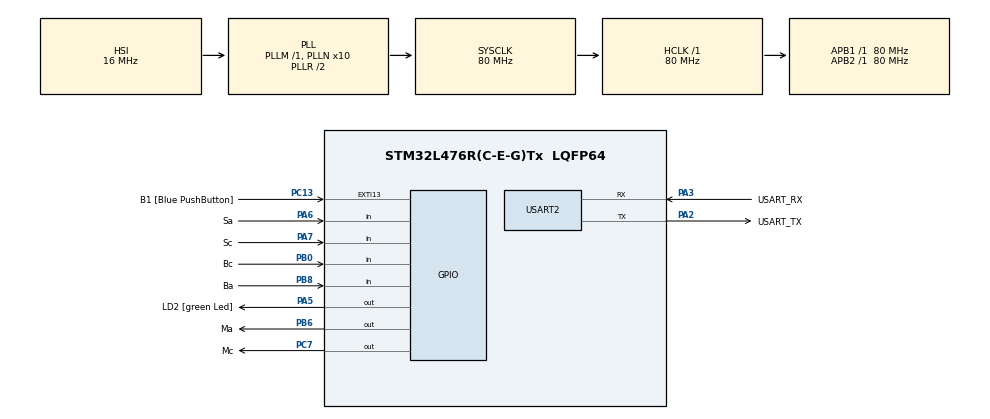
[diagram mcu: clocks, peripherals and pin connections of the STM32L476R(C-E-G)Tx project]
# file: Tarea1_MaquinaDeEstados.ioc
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Mcu.Family=STM32L4
Mcu.Name=STM32L476R(C-E-G)Tx
Mcu.Package=LQFP64
NVIC.PriorityGroup=NVIC_PRIORITYGROUP_4
PA13\ (JTMS-SWDIO).GPIO_Label=TMS
PA13\ (JTMS-SWDIO).Mode=Serial_Wire
PA13\ (JTMS-SWDIO).Signal=SYS_JTMS-SWDIO
PA14\ (JTCK-SWCLK).GPIO_Label=TCK
PA14\ (JTCK-SWCLK).Mode=Serial_Wire
PA14\ (JTCK-SWCLK).Signal=SYS_JTCK-SWCLK
PA2.GPIO_Label=USART_TX
PA2.GPIO_Mode=GPIO_MODE_AF_PP
PA2.GPIO_PuPd=GPIO_NOPULL
PA2.GPIO_Speed=GPIO_SPEED_FREQ_VERY_HIGH
PA2.Mode=Asynchronous
PA2.Signal=USART2_TX
PA3.GPIO_Label=USART_RX
PA3.GPIO_Mode=GPIO_MODE_AF_PP
PA3.GPIO_PuPd=GPIO_NOPULL
PA3.GPIO_Speed=GPIO_SPEED_FREQ_VERY_HIGH
PA3.Mode=Asynchronous
PA3.Signal=USART2_RX
PA5.GPIO_Label=LD2 [green Led]
PA5.GPIO_ModeDefaultOutputPP=GPIO_MODE_OUTPUT_PP
PA5.GPIO_PuPd=GPIO_NOPULL
PA5.GPIO_Speed=GPIO_SPEED_FREQ_LOW
PA5.Signal=GPIO_Output
PA6.GPIO_Label=Sa
PA6.Signal=GPIO_Input
PA7.GPIO_Label=Sc
PA7.Signal=GPIO_Input
PB0.GPIO_Label=Bc
PB0.Signal=GPIO_Input
PB3\ (JTDO-TRACESWO).GPIO_Label=SWO
PB3\ (JTDO-TRACESWO).Signal=SYS_JTDO-SWO
PB6.GPIO_Label=Ma
PB6.Signal=GPIO_Output
PB8.GPIO_Label=Ba
PB8.Signal=GPIO_Input
PC13.GPIO_Label=B1 [Blue PushButton]
PC13.GPIO_ModeDefaultEXTI=GPIO_MODE_IT_FALLING
PC13.GPIO_PuPd=GPIO_NOPULL
PC13.Signal=GPXTI13
PC14-OSC32_IN\ (PC14).Mode=LSE-External-Oscillator
PC14-OSC32_IN\ (PC14).Signal=RCC_OSC32_IN
PC15-OSC32_OUT\ (PC15).Mode=LSE-External-Oscillator
PC15-OSC32_OUT\ (PC15).Signal=RCC_OSC32_OUT
PC7.GPIO_Label=Mc
PC7.Signal=GPIO_Output
PH0-OSC_IN\ (PH0).Signal=RCC_OSC_IN
PH1-OSC_OUT\ (PH1).Signal=RCC_OSC_OUT
ProjectManager.HeapSize=0x200
ProjectManager.StackSize=0x400
ProjectManager.TargetToolchain=STM32CubeIDE
RCC.ADCFreq_Value=64000000
RCC.AHBFreq_Value=80000000
RCC.APB1Freq_Value=80000000
RCC.APB1TimFreq_Value=80000000
RCC.APB2Freq_Value=80000000
RCC.APB2TimFreq_Value=80000000
RCC.CortexFreq_Value=80000000
RCC.HCLKFreq_Value=80000000
RCC.HSE_VALUE=8000000
RCC.HSI_VALUE=16000000
RCC.MSI_VALUE=4000000
RCC.PLLN=10
RCC.PLLSourceVirtual=RCC_PLLSOURCE_HSI
RCC.PREFETCH_ENABLE=1
RCC.SYSCLKFreq_VALUE=80000000
RCC.SYSCLKSource=RCC_SYSCLKSOURCE_PLLCLK
RCC.USBFreq_Value=64000000
RCC.VCOOutputFreq_Value=160000000
USART2.VirtualMode-Asynchronous=VM_ASYNC
VP_TIM2_VS_ClockSourceINT.Mode=Internal
board=NUCLEO-L476RG

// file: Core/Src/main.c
/* USER CODE BEGIN Header */
/* USER CODE END Header */
#include "main.h"

/* USER CODE BEGIN PD */
#define ESTADO_ERROR        0
#define ESTADO_ABIERTO      1
#define ESTADO_CERRADO      2
#define ESTADO_ABRIENDO     3
#define ESTADO_CERRANDO     4
#define ESTADO_INTERMEDIO   5
#define ESTADO_INIT         6
#define FALSE 0
#define TRUE  1
#define inTrue  0
#define inFalse 1
#define TIME_Ca 60
#define GPIO_A GPIOA
#define GPIO_B GPIOB
#define GPIO_C GPIOC
#define PIN_Sa GPIO_PIN_6
#define PIN_Sc GPIO_PIN_7
#define PIN_Ma GPIO_PIN_6
#define PIN_Mc GPIO_PIN_7
#define PIN_Ba GPIO_PIN_8
#define PIN_Bc GPIO_PIN_0
#define PIN_Led GPIO_PIN_5

int Func_ESTADO_ERROR(void);
int Func_ESTADO_ABIERTO(void);
int Func_ESTADO_CERRADO(void);
int Func_ESTADO_ABRIENDO(void);
int Func_ESTADO_CERRANDO(void);
int Func_ESTADO_INTERMEDIO(void);
int Func_ESTADO_INIT(void);

volatile int ESTADO_ANTERIOR = ESTADO_INIT;
volatile int ESTADO_ACTUAL = ESTADO_INIT;
volatile int ESTADO_SIGUIENTE = ESTADO_INIT;
volatile int CntTimeCa = 0;
volatile struct INOUT
{
    unsigned int Sc:1;
    unsigned int Sa:1;
    unsigned int Mc:1;
    unsigned int Ma:1;
    unsigned int Bc:1;
    unsigned int Ba:1;
    unsigned int Led:1;
} inout;
/* USER CODE END PD */

TIM_HandleTypeDef htim2;

UART_HandleTypeDef huart2;

void SystemClock_Config(void);
static void MX_GPIO_Init(void);
static void MX_USART2_UART_Init(void);
static void MX_TIM2_Init(void);

int main(void)
{

  /* MCU Configuration--------------------------------------------------------*/

  /* Reset of all peripherals, Initializes the Flash interface and the Systick. */
  HAL_Init();

  /* Configure the system clock */
  SystemClock_Config();

  /* Initialize all configured peripherals */
  MX_GPIO_Init();
  MX_USART2_UART_Init();
  MX_TIM2_Init();
  /* USER CODE BEGIN 2 */
  HAL_TIM_Base_Start_IT(&htim2);
  /* USER CODE END 2 */

  /* Infinite loop */
  /* USER CODE BEGIN WHILE */
  while(1)
  {
	  if(ESTADO_SIGUIENTE == ESTADO_INIT)
	      {
	          ESTADO_SIGUIENTE = Func_ESTADO_INIT();
	      }

	      if(ESTADO_SIGUIENTE == ESTADO_ABIERTO)
	      {
	          ESTADO_SIGUIENTE = Func_ESTADO_ABIERTO();
	      }
	      if(ESTADO_SIGUIENTE == ESTADO_CERRADO)
	      {
	          ESTADO_SIGUIENTE = Func_ESTADO_CERRADO();
	      }
	      if(ESTADO_SIGUIENTE == ESTADO_ABRIENDO)
	      {
	          ESTADO_SIGUIENTE = Func_ESTADO_ABRIENDO();
	      }
	      if(ESTADO_SIGUIENTE == ESTADO_CERRANDO)
	      {
	          ESTADO_SIGUIENTE = Func_ESTADO_CERRANDO();
	      }
	      if(ESTADO_SIGUIENTE == ESTADO_INTERMEDIO)
	      {
	          ESTADO_SIGUIENTE = Func_ESTADO_INTERMEDIO();
	      }
	      if(ESTADO_SIGUIENTE == ESTADO_ERROR)
	      {
	          ESTADO_SIGUIENTE = Func_ESTADO_ERROR();
	      }
  }
    /* USER CODE END WHILE */

}

void SystemClock_Config(void)
{
  RCC_OscInitTypeDef RCC_OscInitStruct = {0};
  RCC_ClkInitTypeDef RCC_ClkInitStruct = {0};

  /** Configure the main internal regulator output voltage
  */
  if (HAL_PWREx_ControlVoltageScaling(PWR_REGULATOR_VOLTAGE_SCALE1) != HAL_OK)
  {
    Error_Handler();
  }

  /** Initializes the RCC Oscillators according to the specified parameters
  * in the RCC_OscInitTypeDef structure.
  */
  RCC_OscInitStruct.OscillatorType = RCC_OSCILLATORTYPE_HSI;
  RCC_OscInitStruct.HSIState = RCC_HSI_ON;
  RCC_OscInitStruct.HSICalibrationValue = RCC_HSICALIBRATION_DEFAULT;
  RCC_OscInitStruct.PLL.PLLState = RCC_PLL_ON;
  RCC_OscInitStruct.PLL.PLLSource = RCC_PLLSOURCE_HSI;
  RCC_OscInitStruct.PLL.PLLM = 1;
  RCC_OscInitStruct.PLL.PLLN = 10;
  RCC_OscInitStruct.PLL.PLLP = RCC_PLLP_DIV7;
  RCC_OscInitStruct.PLL.PLLQ = RCC_PLLQ_DIV2;
  RCC_OscInitStruct.PLL.PLLR = RCC_PLLR_DIV2;
  if (HAL_RCC_OscConfig(&RCC_OscInitStruct) != HAL_OK)
  {
    Error_Handler();
  }

  /** Initializes the CPU, AHB and APB buses clocks
  */
  RCC_ClkInitStruct.ClockType = RCC_CLOCKTYPE_HCLK|RCC_CLOCKTYPE_SYSCLK
                              |RCC_CLOCKTYPE_PCLK1|RCC_CLOCKTYPE_PCLK2;
  RCC_ClkInitStruct.SYSCLKSource = RCC_SYSCLKSOURCE_PLLCLK;
  RCC_ClkInitStruct.AHBCLKDivider = RCC_SYSCLK_DIV1;
  RCC_ClkInitStruct.APB1CLKDivider = RCC_HCLK_DIV1;
  RCC_ClkInitStruct.APB2CLKDivider = RCC_HCLK_DIV1;

  if (HAL_RCC_ClockConfig(&RCC_ClkInitStruct, FLASH_LATENCY_4) != HAL_OK)
  {
    Error_Handler();
  }
}

static void MX_TIM2_Init(void)
{

  TIM_ClockConfigTypeDef sClockSourceConfig = {0};
  TIM_MasterConfigTypeDef sMasterConfig = {0};

  htim2.Instance = TIM2;
  htim2.Init.Prescaler = 0;
  htim2.Init.CounterMode = TIM_COUNTERMODE_UP;
  htim2.Init.Period = 4294967295;
  htim2.Init.ClockDivision = TIM_CLOCKDIVISION_DIV1;
  htim2.Init.AutoReloadPreload = TIM_AUTORELOAD_PRELOAD_DISABLE;
  if (HAL_TIM_Base_Init(&htim2) != HAL_OK)
  {
    Error_Handler();
  }
  sClockSourceConfig.ClockSource = TIM_CLOCKSOURCE_INTERNAL;
  if (HAL_TIM_ConfigClockSource(&htim2, &sClockSourceConfig) != HAL_OK)
  {
    Error_Handler();
  }
  sMasterConfig.MasterOutputTrigger = TIM_TRGO_RESET;
  sMasterConfig.MasterSlaveMode = TIM_MASTERSLAVEMODE_DISABLE;
  if (HAL_TIMEx_MasterConfigSynchronization(&htim2, &sMasterConfig) != HAL_OK)
  {
    Error_Handler();
  }

}

static void MX_USART2_UART_Init(void)
{

  huart2.Instance = USART2;
  huart2.Init.BaudRate = 115200;
  huart2.Init.WordLength = UART_WORDLENGTH_8B;
  huart2.Init.StopBits = UART_STOPBITS_1;
  huart2.Init.Parity = UART_PARITY_NONE;
  huart2.Init.Mode = UART_MODE_TX_RX;
  huart2.Init.HwFlowCtl = UART_HWCONTROL_NONE;
  huart2.Init.OverSampling = UART_OVERSAMPLING_16;
  huart2.Init.OneBitSampling = UART_ONE_BIT_SAMPLE_DISABLE;
  huart2.AdvancedInit.AdvFeatureInit = UART_ADVFEATURE_NO_INIT;
  if (HAL_UART_Init(&huart2) != HAL_OK)
  {
    Error_Handler();
  }

}

static void MX_GPIO_Init(void)
{
  GPIO_InitTypeDef GPIO_InitStruct = {0};

  /* GPIO Ports Clock Enable */
  __HAL_RCC_GPIOC_CLK_ENABLE();
  __HAL_RCC_GPIOH_CLK_ENABLE();
  __HAL_RCC_GPIOA_CLK_ENABLE();
  __HAL_RCC_GPIOB_CLK_ENABLE();

  /*Configure GPIO pin Output Level */
  HAL_GPIO_WritePin(LD2_GPIO_Port, LD2_Pin, GPIO_PIN_RESET);

  /*Configure GPIO pin Output Level */
  HAL_GPIO_WritePin(Mc_GPIO_Port, Mc_Pin, GPIO_PIN_RESET);

  /*Configure GPIO pin Output Level */
  HAL_GPIO_WritePin(Ma_GPIO_Port, Ma_Pin, GPIO_PIN_RESET);

  /*Configure GPIO pin : B1_Pin */
  GPIO_InitStruct.Pin = B1_Pin;
  GPIO_InitStruct.Mode = GPIO_MODE_IT_FALLING;
  GPIO_InitStruct.Pull = GPIO_NOPULL;
  HAL_GPIO_Init(B1_GPIO_Port, &GPIO_InitStruct);

  /*Configure GPIO pin : LD2_Pin */
  GPIO_InitStruct.Pin = LD2_Pin;
  GPIO_InitStruct.Mode = GPIO_MODE_OUTPUT_PP;
  GPIO_InitStruct.Pull = GPIO_NOPULL;
  GPIO_InitStruct.Speed = GPIO_SPEED_FREQ_LOW;
  HAL_GPIO_Init(LD2_GPIO_Port, &GPIO_InitStruct);

  /*Configure GPIO pins : Sa_Pin Sc_Pin */
  GPIO_InitStruct.Pin = Sa_Pin|Sc_Pin;
  GPIO_InitStruct.Mode = GPIO_MODE_INPUT;
  GPIO_InitStruct.Pull = GPIO_NOPULL;
  HAL_GPIO_Init(GPIOA, &GPIO_InitStruct);

  /*Configure GPIO pins : Bc_Pin Ba_Pin */
  GPIO_InitStruct.Pin = Bc_Pin|Ba_Pin;
  GPIO_InitStruct.Mode = GPIO_MODE_INPUT;
  GPIO_InitStruct.Pull = GPIO_NOPULL;
  HAL_GPIO_Init(GPIOB, &GPIO_InitStruct);

  /*Configure GPIO pin : Mc_Pin */
  GPIO_InitStruct.Pin = Mc_Pin;
  GPIO_InitStruct.Mode = GPIO_MODE_OUTPUT_PP;
  GPIO_InitStruct.Pull = GPIO_NOPULL;
  GPIO_InitStruct.Speed = GPIO_SPEED_FREQ_LOW;
  HAL_GPIO_Init(Mc_GPIO_Port, &GPIO_InitStruct);

  /*Configure GPIO pin : Ma_Pin */
  GPIO_InitStruct.Pin = Ma_Pin;
  GPIO_InitStruct.Mode = GPIO_MODE_OUTPUT_PP;
  GPIO_InitStruct.Pull = GPIO_NOPULL;
  GPIO_InitStruct.Speed = GPIO_SPEED_FREQ_LOW;
  HAL_GPIO_Init(Ma_GPIO_Port, &GPIO_InitStruct);

}

/* USER CODE BEGIN 4 */
int Func_ESTADO_ERROR(void)
{
    for(;;)
    {
        inout.Led = TRUE;
    }
}
int Func_ESTADO_ABIERTO(void)
{
    ESTADO_ANTERIOR = ESTADO_ACTUAL;
    ESTADO_ACTUAL = ESTADO_ABIERTO;
    inout.Ma = FALSE;
    inout.Mc = FALSE;
    inout.Led = FALSE;
    CntTimeCa = 0;
    for(;;)
    {
        if(CntTimeCa > TIME_Ca)
        {
            return ESTADO_CERRANDO;
        }

        if(inout.Bc == TRUE)
        {
            return ESTADO_CERRANDO;
        }
    }
}

int Func_ESTADO_CERRADO(void)
{
    ESTADO_ANTERIOR = ESTADO_ACTUAL;
    ESTADO_ACTUAL = ESTADO_CERRADO;
    inout.Mc = FALSE;
    inout.Ma = FALSE;

    for(;;)
    {
        if(inout.Ba == TRUE)
        {
            return ESTADO_ABRIENDO;
        }
    }

}
int Func_ESTADO_ABRIENDO(void)
{
 	ESTADO_ANTERIOR = ESTADO_ACTUAL;
    ESTADO_ACTUAL = ESTADO_ABRIENDO;
    inout.Mc = FALSE;
    inout.Ma = TRUE;

    for(;;){
    	if(inout.Sa == TRUE){
    		return ESTADO_ABIERTO;
    	}
    	else if (inout.Bc == TRUE){
    		return ESTADO_CERRANDO;
    	}
    }
}
int Func_ESTADO_CERRANDO(void)
{
    ESTADO_ANTERIOR = ESTADO_ACTUAL;
    ESTADO_ACTUAL = ESTADO_CERRANDO;
    inout.Mc = TRUE;
    inout.Ma = FALSE;

    for(;;)
    {
        if(inout.Sc == TRUE)
        {
            return ESTADO_CERRADO;
        }
        else if(inout.Ba == TRUE){
        	return ESTADO_ABRIENDO;
        }
    }
}
int Func_ESTADO_INTERMEDIO(void)
{
	ESTADO_ANTERIOR = ESTADO_ACTUAL;
    ESTADO_ACTUAL = ESTADO_INTERMEDIO;
    inout.Mc = FALSE;
    inout.Ma = FALSE;

    for(;;){
    	if((inout.Ba == TRUE)){
    		return ESTADO_ABRIENDO;
    	}

    	if((inout.Bc == TRUE)){
    		return ESTADO_CERRANDO;
    	}

    }

}
int Func_ESTADO_INIT(void)
{
    ESTADO_ANTERIOR = ESTADO_ACTUAL;
    ESTADO_ACTUAL = ESTADO_INIT;

    inout.Ma = FALSE;
    inout.Mc = FALSE;
    for(;;)
	{

    if((inout.Sa == 1) && (inout.Sc == 1))
    {
        return ESTADO_ERROR;
    }

    if((inout.Sa == 1) && (inout.Sc == 0))
    {
        return ESTADO_ABIERTO;
    }

    if((inout.Sc == 1) && (inout.Sa == 0))
    {
 		return ESTADO_CERRADO;
    }

    if((inout.Sa == 0) && (inout.Sc == 0))
    {
 		return ESTADO_INTERMEDIO;
    }

	}
}

/* USER CODE END 4 */

void Error_Handler(void)
{
}
